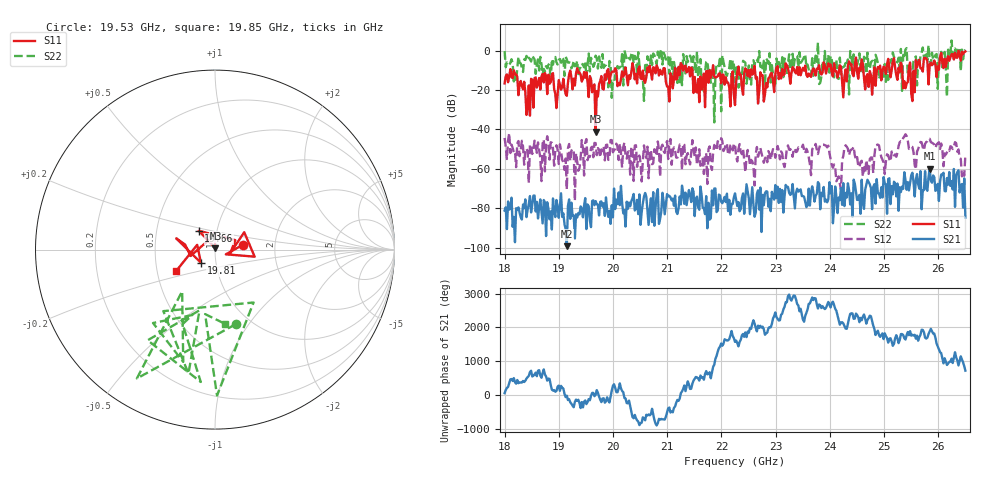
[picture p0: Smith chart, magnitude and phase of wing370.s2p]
!Keysight Technologies,N5242B,MY47200105,A.14.00.23
!Date: Friday, May 10, 2024 11:20:19
!Correction: S11(C  2-Port  )
!S21(C  2-Port  )
!S12(C  2-Port  )
!S22(C  2-Port  )
!S2P File: Measurement: :
# Hz S  RI  R 50
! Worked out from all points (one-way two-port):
!   401 points, 18 GHz to 26.5 GHz, reference 50 ohm
!   highest |S21| = -59.96 dB at 25.84 GHz (marker M1); lowest = -99.2 dB at 19.15 GHz (marker M2)
!   lowest |S11| = -41.1 dB at 19.68 GHz (marker M3), VSWR 1.02, Z = 50.3 + j0.838 ohm
!   |S11| at or under -10 dB: 18.11 GHz to 19.33 GHz (1.222 GHz wide, 6.53 % of centre); 19.35 GHz to 19.9 GHz (550.9 MHz wide, 2.81 % of centre); 21.86 GHz to 22.3 GHz (444.8 MHz wide, 2.01 % of centre) (the widest 3 of 57)
!   |S22| runs from -36.4 to 5.1 dB; largest |S21 - S12| = 0.0081
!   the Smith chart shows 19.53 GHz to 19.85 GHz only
!   S11 on the Smith chart (normalised r, x): 19.53 GHz: 1.37, +0.08; 19.66 GHz: 0.82, +0.17; 19.81 GHz: 0.85, -0.13; 19.85 GHz: 0.63, -0.16
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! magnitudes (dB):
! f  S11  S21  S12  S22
! 18 GHz  -16.7  -81.2  -44.3  -0.3
! 18.43 GHz  -28.9  -80.6  -51.2  -4.9
! 18.72 GHz  -16.2  -75.8  -45.1  -9.3
! 19.15 GHz  -23.0  -99.2  -70.5  -4.6
! 19.42 GHz  -15.7  -80.1  -45.4  -6.5
! 19.53 GHz  -16.0  -78.1  -55.6  -7.3
! 19.66 GHz  -17.2  -78.5  -46.9  -6.9
! 19.68 GHz  -41.1  -76.4  -47.0  -2.6
! 19.81 GHz  -19.4  -79.2  -51.0  -1.8
! 19.85 GHz  -12.2  -83.9  -55.7  -7.6
! 20.55 GHz  -10.2  -77.5  -55.6  -13.7
! 20.85 GHz  -12.7  -87.9  -50.6  -4.5
! 21.23 GHz  -12.5  -74.1  -47.7  -17.4
! 21.4 GHz  -8.4  -70.8  -55.1  -4.2
! 22.25 GHz  -27.7  -72.5  -47.4  -15.9
! 23.67 GHz  -10.7  -68.9  -50.1  -3.9
! 23.93 GHz  -11.7  -75.6  -48.2  -10.6
! 24.16 GHz  -11.5  -74.5  -63.8  -14.4
! 24.29 GHz  -9.6  -72.2  -48.1  -6.3
! 25.1 GHz  -9.0  -64.8  -55.2  -6.2
! 25.84 GHz  -7.3  -60.0  -44.7  -5.5
! 26.5 GHz  -0.5  -84.8  -52.7  0.4
